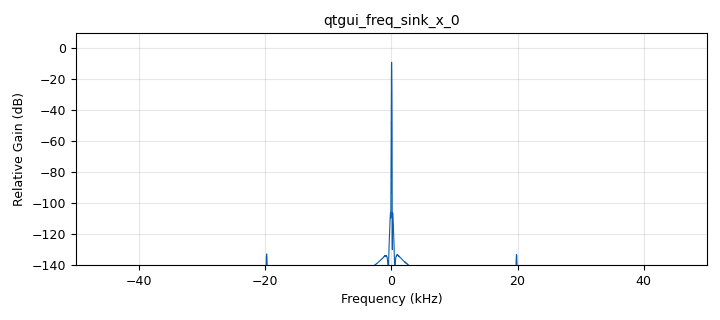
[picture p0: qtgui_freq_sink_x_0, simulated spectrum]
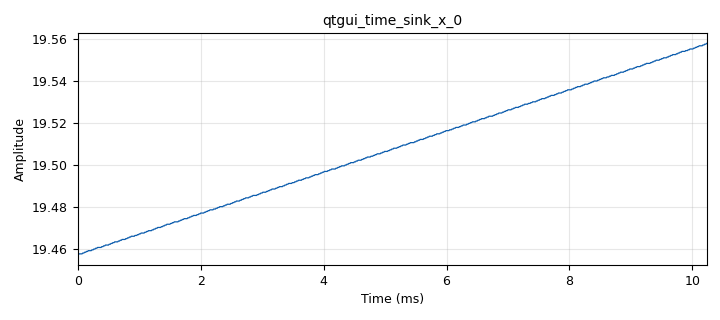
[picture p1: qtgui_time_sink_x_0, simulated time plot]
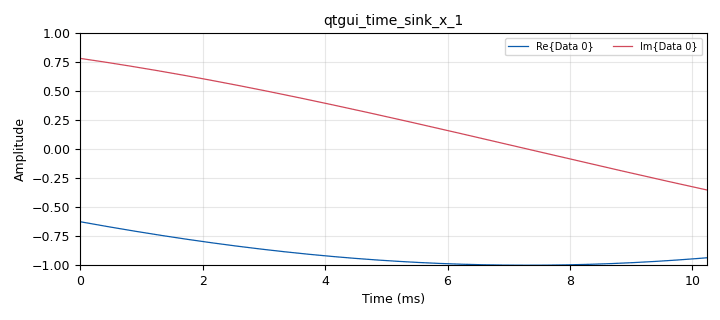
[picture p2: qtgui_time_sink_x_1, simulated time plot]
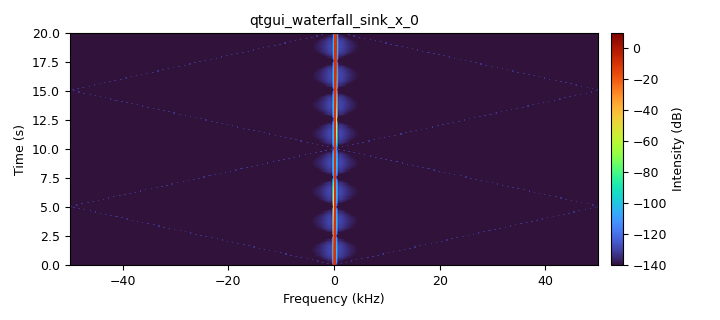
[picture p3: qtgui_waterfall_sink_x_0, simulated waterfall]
options:
  parameters:
    generate_options: qt_gui
    id: doppler_drift
    output_language: python
    title: Not titled yet
  states: {}

blocks:
- name: drift_duration
  id: variable
  parameters:
    comment: |-
      1000 seconds.
      Working with duration will ensure
      saw tooth will not snap back to 0
    value: '1000'
  states: {}
- name: drift_rate
  id: variable
  parameters:
    comment: Hz / sec
    value: '10'
  states: {}
- name: samp_rate
  id: variable
  parameters:
    value: 100e3
  states: {}
- name: analog_sig_source_x_0
  id: analog_sig_source_x
  parameters:
    amp: drift_rate * drift_duration
    comment: |-
      Saw tooth - GNU Radio starts 
      at Amplitude / 2 at phase 0

      Need to start at -pi
    freq: 1 / (drift_duration)
    offset: '0'
    phase: '-np.pi'
    samp_rate: samp_rate
    type: float
    waveform: analog.GR_SAW_WAVE
  states: {}
- name: blocks_throttle2_0
  id: blocks_throttle2
  parameters:
    samples_per_second: samp_rate
    type: float
  states: {}
- name: blocks_vco_c_0
  id: blocks_vco_c
  parameters:
    amplitude: '1'
    comment: VCO = Voltage Controlled Oscillator
    samp_rate: samp_rate
    sensitivity: 2*np.pi
  states: {}
- name: import_0
  id: import
  parameters:
    imports: import numpy as np
  states: {}
- name: qtgui_freq_sink_x_0
  id: qtgui_freq_sink_x
  parameters:
    bw: samp_rate
    fc: '0'
    fftsize: '4096'
    type: complex
  states: {}
- name: qtgui_time_sink_x_0
  id: qtgui_time_sink_x
  parameters:
    autoscale: 'True'
    grid: 'True'
    size: '1024'
    srate: samp_rate
    type: float
  states: {}
- name: qtgui_time_sink_x_1
  id: qtgui_time_sink_x
  parameters:
    size: '1024'
    srate: samp_rate
    type: complex
  states: {}
- name: qtgui_waterfall_sink_x_0
  id: qtgui_waterfall_sink_x
  parameters:
    bw: samp_rate
    fc: '0'
    fftsize: '4096'
    type: complex
  states: {}

connections:
- [analog_sig_source_x_0, '0', blocks_throttle2_0, '0']
- [blocks_throttle2_0, '0', blocks_vco_c_0, '0']
- [blocks_throttle2_0, '0', qtgui_time_sink_x_0, '0']
- [blocks_vco_c_0, '0', qtgui_freq_sink_x_0, '0']
- [blocks_vco_c_0, '0', qtgui_time_sink_x_1, '0']
- [blocks_vco_c_0, '0', qtgui_waterfall_sink_x_0, '0']

metadata:
  file_format: 1
  grc_version: 3.10.12.0
